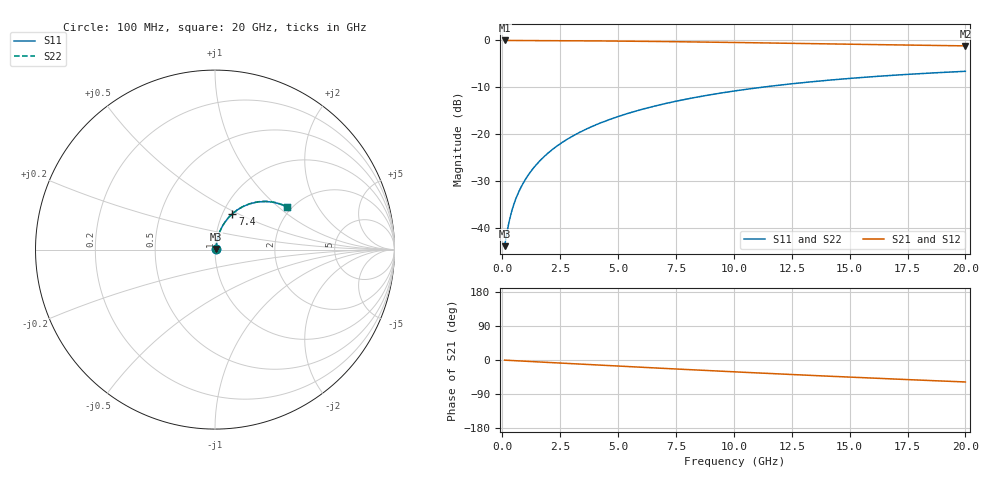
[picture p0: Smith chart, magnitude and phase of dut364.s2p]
! Touchstone file exported from HFSS 2026.1.0
!  File:  C:/ffzhzh/LocalFiles/Ansys_Project_Files/temp_train_BSMRDL_364_1783011638_55676.aedt
!  Generated:  01:02:17 AM Jul  3, 2026
!  Design:  BSMRDL
!  Project:  temp_train_BSMRDL_364_1783011638_55676
! Variables:
!  h_bsmrdl = 2.46um
!  h_ox = 20um
!  h_rdl = 5um
!  h_sub = 80um
!  h_tmrdl = 5um
!  h_tsv = 80um
!  h_via = 3um
!  l_bsmrdl = 901.9um
!  l_sub = 1301.9um
!  l_tmrdl = 200um
!  m_sub = 200um
!  pitch = 51.37um
!  r_tsv = 6um
!  s_tmrdl = 10um
!  w_bsmrdl = 25.24um
!  w_sub = 500um
!  w_tmrdl = 12um
!  x_tsv_center1 = 206um
!  x_tsv_center2 = 1133.14um
!  x_tsv_center3 = 1345.14um
!  x_tsv_center4 = 2272.28um
!  x_tsv_center5 = 2484.28um
!  x_tsv_center6 = 3411.42um
# GHz S MA R 50.000000
! Terminal data exported
! Port[1] = BSM_RDL1_1_T1
! Port[2] = BSM_RDL1_1_T2
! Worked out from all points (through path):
!   200 points, 100 MHz to 20 GHz, reference 50 ohm
!   highest |S21| = -0.05 dB at 100 MHz (marker M1); lowest = -1.2 dB at 20 GHz (marker M2)
!   group delay of S21, straight-line fit = 8.07 ps
!   lowest |S11| = -43.8 dB at 100 MHz (marker M3), VSWR 1.01, Z = 50.5 + j0.357 ohm
!   |S11| at or under -10 dB: start of sweep to 11.22 GHz
!   |S22| runs from -43.8 to -6.6 dB; largest |S21 - S12| = 1.3e-14
!   S11 on the Smith chart (normalised r, x): 100 MHz: 1.01, +0.01; 7.4 GHz: 1.11, +0.47; 20 GHz: 1.90, +1.15
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0.1  0.006451 33.2  0.9946 -0.3  0.9946 -0.3  0.006451 33.2
! Gamma 0 0 0 0
! Port Impedance 50 0 50 0
0.2  0.008986 50.9  0.9944 -0.7  0.9944 -0.7  0.008986 50.9
0.3  0.01194 59.7  0.9941 -1.0  0.9941 -1.0  0.01194 59.7
0.4  0.01497 64.6  0.9938 -1.4  0.9938 -1.4  0.01497 64.6
0.5  0.01801 67.7  0.9935 -1.7  0.9935 -1.7  0.01801 67.7
0.6  0.02104 69.9  0.9933 -2.0  0.9933 -2.0  0.02104 69.9
0.8  0.02709 72.7  0.9928 -2.6  0.9928 -2.6  0.02709 72.7
1.1  0.0362 75.1  0.9923 -3.6  0.9923 -3.6  0.0362 75.1
1.3  0.04231 75.9  0.9919 -4.2  0.9919 -4.2  0.04231 75.9
1.6  0.05151 76.6  0.9914 -5.2  0.9914 -5.2  0.0515 76.6
2.1  0.06688 76.7  0.9903 -6.8  0.9903 -6.8  0.06688 76.8
2.7  0.0853 76.1  0.9887 -8.7  0.9887 -8.7  0.08529 76.1
3.5  0.1097 74.5  0.986 -11.3  0.986 -11.3  0.1096 74.6
4.2  0.1307 72.9  0.9832 -13.5  0.9832 -13.5  0.1307 72.9
5  0.1543 70.8  0.9795 -16.0  0.9795 -16.0  0.1543 70.9
6.8  0.2054 65.8  0.9694 -21.6  0.9694 -21.6  0.2054 65.9
7.4  0.2218 64.0  0.9656 -23.4  0.9656 -23.4  0.2217 64.2
8.7  0.2559 60.3  0.9566 -27.3  0.9566 -27.3  0.2558 60.5
10.1  0.2904 56.3  0.9462 -31.5  0.9462 -31.5  0.2903 56.5
13.4  0.3624 47.2  0.9201 -40.8  0.9201 -40.8  0.3623 47.5
16.7  0.4211 38.5  0.8943 -49.6  0.8943 -49.6  0.421 38.9
20  0.4673 30.3  0.871 -58.0  0.871 -58.0  0.4671 30.7
